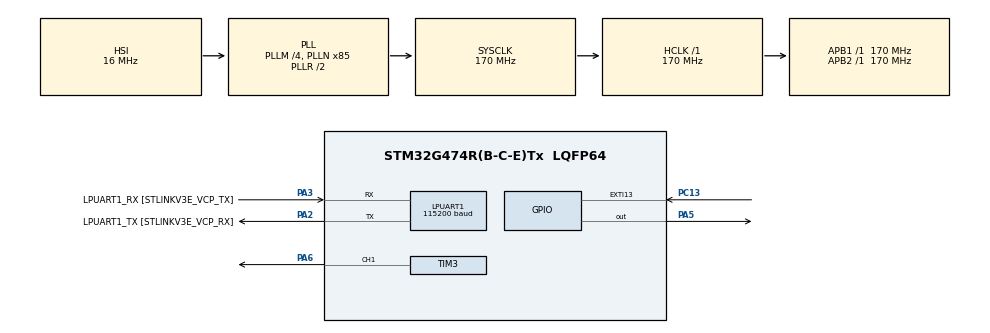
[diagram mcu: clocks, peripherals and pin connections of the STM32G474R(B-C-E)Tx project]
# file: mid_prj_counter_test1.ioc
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LPUART1.BaudRate=115200
Mcu.Family=STM32G4
Mcu.Name=STM32G474R(B-C-E)Tx
Mcu.Package=LQFP64
NVIC.EXTI15_10_IRQn=true\:0\:0\:false\:false\:true\:true\:true\:true
NVIC.LPUART1_IRQn=true\:0\:0\:false\:false\:true\:true\:true\:true
NVIC.PriorityGroup=NVIC_PRIORITYGROUP_4
PA13.GPIO_Label=T_SWDIO
PA13.Mode=Serial_Wire
PA13.Signal=SYS_JTMS-SWDIO
PA14.GPIO_Label=T_SWCLK
PA14.Mode=Serial_Wire
PA14.Signal=SYS_JTCK-SWCLK
PA2.GPIO_Label=LPUART1_TX [STLINKV3E_VCP_RX]
PA2.Mode=Asynchronous
PA2.Signal=LPUART1_TX
PA3.GPIO_Label=LPUART1_RX [STLINKV3E_VCP_TX]
PA3.Mode=Asynchronous
PA3.Signal=LPUART1_RX
PA5.Signal=GPIO_Output
PA6.Signal=S_TIM3_CH1
PB3.GPIO_Label=T_SWO
PB3.Signal=SYS_JTDO-SWO
PC13.GPIO_ModeDefaultEXTI=GPIO_MODE_IT_FALLING
PC13.Signal=GPXTI13
PC14-OSC32_IN.GPIO_Label=RCC_OSC32_IN
PC14-OSC32_IN.Signal=RCC_OSC32_IN
PC15-OSC32_OUT.GPIO_Label=RCC_OSC32_OUT
PC15-OSC32_OUT.Signal=RCC_OSC32_OUT
PF0-OSC_IN.GPIO_Label=RCC_OSC_IN
PF0-OSC_IN.Signal=RCC_OSC_IN
PF1-OSC_OUT.GPIO_Label=RCC_OSC_OUT
PF1-OSC_OUT.Signal=RCC_OSC_OUT
ProjectManager.HeapSize=0x200
ProjectManager.StackSize=0x400
ProjectManager.TargetToolchain=STM32CubeIDE
RCC.ADC12Freq_Value=170000000
RCC.ADC345Freq_Value=170000000
RCC.AHBFreq_Value=170000000
RCC.APB1Freq_Value=170000000
RCC.APB1TimFreq_Value=170000000
RCC.APB2Freq_Value=170000000
RCC.APB2TimFreq_Value=170000000
RCC.CortexFreq_Value=170000000
RCC.EXTERNAL_CLOCK_VALUE=12288000
RCC.HCLKFreq_Value=170000000
RCC.HSE_VALUE=24000000
RCC.HSI48_VALUE=48000000
RCC.HSI_VALUE=16000000
RCC.LSE_VALUE=32768
RCC.PLLM=RCC_PLLM_DIV4
RCC.PLLN=85
RCC.RTCClockSelection=RCC_RTCCLKSOURCE_LSE
RCC.SYSCLKFreq_VALUE=170000000
RCC.SYSCLKSource=RCC_SYSCLKSOURCE_PLLCLK
RCC.USBFreq_Value=170000000
RCC.VCOOutputFreq_Value=340000000
SH.S_TIM3_CH1.0=TIM3_CH1,PWM Generation1 CH1
TIM2.Prescaler=169
TIM3.Channel-PWM\ Generation1\ CH1=TIM_CHANNEL_1
TIM3.PeriodNoDither=999
TIM3.Prescaler=169
VP_SYS_VS_DBSignals.Mode=DisableDeadBatterySignals
VP_TIM2_VS_ClockSourceINT.Mode=Internal
VP_TIM3_VS_ClockSourceINT.Mode=Internal
board=NUCLEO-G474RE

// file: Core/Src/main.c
/* USER CODE BEGIN Header */
/**
  ******************************************************************************
  * @file           : main.c
  * @brief          : Main program body
  ******************************************************************************
  * @attention
  *
  * Copyright (c) 2026 STMicroelectronics.
  * All rights reserved.
  *
  * This software is licensed under terms that can be found in the LICENSE file
  * in the root directory of this software component.
  * If no LICENSE file comes with this software, it is provided AS-IS.
  *
  ******************************************************************************
  */
/* USER CODE END Header */
#include "main.h"

/* USER CODE BEGIN Includes */
#include <stdio.h>
#include <string.h>
#include <stdlib.h>
/* USER CODE END Includes */

UART_HandleTypeDef hlpuart1;

TIM_HandleTypeDef htim2;
TIM_HandleTypeDef htim3;

/* USER CODE BEGIN PV */

float target_time = 10.0f;
float elapsed_time = 0.0f;
float time_error = 0.0f;
int discount = 0;

volatile uint8_t game_state = 0;
volatile uint32_t start_time = 0;
volatile uint32_t stop_time = 0;

uint8_t rx_byte;
char rx_buffer[64];
volatile uint8_t rx_index = 0;

/* USER CODE END PV */

void SystemClock_Config(void);
static void MX_GPIO_Init(void);
static void MX_LPUART1_UART_Init(void);
static void MX_TIM2_Init(void);
static void MX_TIM3_Init(void);

int main(void)
{

  /* MCU Configuration--------------------------------------------------------*/

  /* Reset of all peripherals, Initializes the Flash interface and the Systick. */
  HAL_Init();

  /* Configure the system clock */
  SystemClock_Config();

  /* Initialize all configured peripherals */
  MX_GPIO_Init();
  MX_LPUART1_UART_Init();
  MX_TIM2_Init();
  MX_TIM3_Init();
  /* USER CODE BEGIN 2 */
  HAL_TIM_Base_Start(&htim2);
  HAL_UART_Receive_IT(&hlpuart1, &rx_byte, 1);
  HAL_TIM_PWM_Start(&htim3, TIM_CHANNEL_1);
  /* USER CODE END 2 */

  /* Infinite loop */
  while (1)
  {
	  /* USER CODE BEGIN 3 */
	  if (game_state == 2)
	  	  {
	  	      elapsed_time = stop_time / 1000000.0f;

	  	      time_error = elapsed_time - target_time;

	  	      if (time_error < 0)
	  	          time_error = -time_error;

	  	      if (time_error <= 0.05f)
	  	    	  discount = 5;
	  	      else if (time_error <= 0.20f)
	  	    	  discount = 7;
	  	      else if (time_error <= 1.00f)
	  	    	  discount = 9;
	  	      else
	  	    	  discount = 10;

	  	      char msg[128];

	  	      snprintf(msg, sizeof(msg),
	  	               "\r\nTime: %.3f s\r\nError: %.3f s\r\nDiscount: %d\r\n",
	  	               elapsed_time, time_error, discount);

	  	      HAL_UART_Transmit(&hlpuart1,
	  	                        (uint8_t *)msg,
	  	                        strlen(msg),
	  	                        1000);

	  	    // 只有獲得折扣時，PWM 才呼吸三次
	  	    if (discount < 10)
	  	    {
	  	        for (int blink = 0; blink < 3; blink++)
	  	        {
	  	            // 漸亮
	  	            for (int duty = 0; duty <= 999; duty += 10)
	  	            {
	  	                __HAL_TIM_SET_COMPARE(&htim3, TIM_CHANNEL_1, duty);
	  	                HAL_Delay(5);
	  	            }

	  	            // 漸暗
	  	            for (int duty = 999; duty >= 0; duty -= 10)
	  	            {
	  	                __HAL_TIM_SET_COMPARE(&htim3, TIM_CHANNEL_1, duty);
	  	                HAL_Delay(5);
	  	            }

	  	            // 熄滅並停頓
	  	            __HAL_TIM_SET_COMPARE(&htim3, TIM_CHANNEL_1, 0);
	  	            HAL_Delay(200);
	  	        }
	  	    }
	  	      game_state = 0;
	  	  }
	  /* USER CODE END 3 */
          }
}

void SystemClock_Config(void)
{
  RCC_OscInitTypeDef RCC_OscInitStruct = {0};
  RCC_ClkInitTypeDef RCC_ClkInitStruct = {0};

  /** Configure the main internal regulator output voltage
  */
  HAL_PWREx_ControlVoltageScaling(PWR_REGULATOR_VOLTAGE_SCALE1_BOOST);

  /** Initializes the RCC Oscillators according to the specified parameters
  * in the RCC_OscInitTypeDef structure.
  */
  RCC_OscInitStruct.OscillatorType = RCC_OSCILLATORTYPE_HSI;
  RCC_OscInitStruct.HSIState = RCC_HSI_ON;
  RCC_OscInitStruct.HSICalibrationValue = RCC_HSICALIBRATION_DEFAULT;
  RCC_OscInitStruct.PLL.PLLState = RCC_PLL_ON;
  RCC_OscInitStruct.PLL.PLLSource = RCC_PLLSOURCE_HSI;
  RCC_OscInitStruct.PLL.PLLM = RCC_PLLM_DIV4;
  RCC_OscInitStruct.PLL.PLLN = 85;
  RCC_OscInitStruct.PLL.PLLP = RCC_PLLP_DIV2;
  RCC_OscInitStruct.PLL.PLLQ = RCC_PLLQ_DIV2;
  RCC_OscInitStruct.PLL.PLLR = RCC_PLLR_DIV2;
  if (HAL_RCC_OscConfig(&RCC_OscInitStruct) != HAL_OK)
  {
    Error_Handler();
  }

  /** Initializes the CPU, AHB and APB buses clocks
  */
  RCC_ClkInitStruct.ClockType = RCC_CLOCKTYPE_HCLK|RCC_CLOCKTYPE_SYSCLK
                              |RCC_CLOCKTYPE_PCLK1|RCC_CLOCKTYPE_PCLK2;
  RCC_ClkInitStruct.SYSCLKSource = RCC_SYSCLKSOURCE_PLLCLK;
  RCC_ClkInitStruct.AHBCLKDivider = RCC_SYSCLK_DIV1;
  RCC_ClkInitStruct.APB1CLKDivider = RCC_HCLK_DIV1;
  RCC_ClkInitStruct.APB2CLKDivider = RCC_HCLK_DIV1;

  if (HAL_RCC_ClockConfig(&RCC_ClkInitStruct, FLASH_LATENCY_4) != HAL_OK)
  {
    Error_Handler();
  }
}

static void MX_LPUART1_UART_Init(void)
{

  hlpuart1.Instance = LPUART1;
  hlpuart1.Init.BaudRate = 115200;
  hlpuart1.Init.WordLength = UART_WORDLENGTH_8B;
  hlpuart1.Init.StopBits = UART_STOPBITS_1;
  hlpuart1.Init.Parity = UART_PARITY_NONE;
  hlpuart1.Init.Mode = UART_MODE_TX_RX;
  hlpuart1.Init.HwFlowCtl = UART_HWCONTROL_NONE;
  hlpuart1.Init.OneBitSampling = UART_ONE_BIT_SAMPLE_DISABLE;
  hlpuart1.Init.ClockPrescaler = UART_PRESCALER_DIV1;
  hlpuart1.AdvancedInit.AdvFeatureInit = UART_ADVFEATURE_NO_INIT;
  if (HAL_UART_Init(&hlpuart1) != HAL_OK)
  {
    Error_Handler();
  }
  if (HAL_UARTEx_SetTxFifoThreshold(&hlpuart1, UART_TXFIFO_THRESHOLD_1_8) != HAL_OK)
  {
    Error_Handler();
  }
  if (HAL_UARTEx_SetRxFifoThreshold(&hlpuart1, UART_RXFIFO_THRESHOLD_1_8) != HAL_OK)
  {
    Error_Handler();
  }
  if (HAL_UARTEx_DisableFifoMode(&hlpuart1) != HAL_OK)
  {
    Error_Handler();
  }

}

static void MX_TIM2_Init(void)
{

  TIM_ClockConfigTypeDef sClockSourceConfig = {0};
  TIM_MasterConfigTypeDef sMasterConfig = {0};

  htim2.Instance = TIM2;
  htim2.Init.Prescaler = 169;
  htim2.Init.CounterMode = TIM_COUNTERMODE_UP;
  htim2.Init.Period = 4294967295;
  htim2.Init.ClockDivision = TIM_CLOCKDIVISION_DIV1;
  htim2.Init.AutoReloadPreload = TIM_AUTORELOAD_PRELOAD_DISABLE;
  if (HAL_TIM_Base_Init(&htim2) != HAL_OK)
  {
    Error_Handler();
  }
  sClockSourceConfig.ClockSource = TIM_CLOCKSOURCE_INTERNAL;
  if (HAL_TIM_ConfigClockSource(&htim2, &sClockSourceConfig) != HAL_OK)
  {
    Error_Handler();
  }
  sMasterConfig.MasterOutputTrigger = TIM_TRGO_RESET;
  sMasterConfig.MasterSlaveMode = TIM_MASTERSLAVEMODE_DISABLE;
  if (HAL_TIMEx_MasterConfigSynchronization(&htim2, &sMasterConfig) != HAL_OK)
  {
    Error_Handler();
  }

}

static void MX_TIM3_Init(void)
{

  TIM_ClockConfigTypeDef sClockSourceConfig = {0};
  TIM_MasterConfigTypeDef sMasterConfig = {0};
  TIM_OC_InitTypeDef sConfigOC = {0};

  htim3.Instance = TIM3;
  htim3.Init.Prescaler = 169;
  htim3.Init.CounterMode = TIM_COUNTERMODE_UP;
  htim3.Init.Period = 999;
  htim3.Init.ClockDivision = TIM_CLOCKDIVISION_DIV1;
  htim3.Init.AutoReloadPreload = TIM_AUTORELOAD_PRELOAD_DISABLE;
  if (HAL_TIM_Base_Init(&htim3) != HAL_OK)
  {
    Error_Handler();
  }
  sClockSourceConfig.ClockSource = TIM_CLOCKSOURCE_INTERNAL;
  if (HAL_TIM_ConfigClockSource(&htim3, &sClockSourceConfig) != HAL_OK)
  {
    Error_Handler();
  }
  if (HAL_TIM_PWM_Init(&htim3) != HAL_OK)
  {
    Error_Handler();
  }
  sMasterConfig.MasterOutputTrigger = TIM_TRGO_RESET;
  sMasterConfig.MasterSlaveMode = TIM_MASTERSLAVEMODE_DISABLE;
  if (HAL_TIMEx_MasterConfigSynchronization(&htim3, &sMasterConfig) != HAL_OK)
  {
    Error_Handler();
  }
  sConfigOC.OCMode = TIM_OCMODE_PWM1;
  sConfigOC.Pulse = 0;
  sConfigOC.OCPolarity = TIM_OCPOLARITY_HIGH;
  sConfigOC.OCFastMode = TIM_OCFAST_DISABLE;
  if (HAL_TIM_PWM_ConfigChannel(&htim3, &sConfigOC, TIM_CHANNEL_1) != HAL_OK)
  {
    Error_Handler();
  }
  HAL_TIM_MspPostInit(&htim3);

}

static void MX_GPIO_Init(void)
{
  GPIO_InitTypeDef GPIO_InitStruct = {0};

  /* GPIO Ports Clock Enable */
  __HAL_RCC_GPIOC_CLK_ENABLE();
  __HAL_RCC_GPIOF_CLK_ENABLE();
  __HAL_RCC_GPIOA_CLK_ENABLE();
  __HAL_RCC_GPIOB_CLK_ENABLE();

  /*Configure GPIO pin Output Level */
  HAL_GPIO_WritePin(GPIOA, GPIO_PIN_5, GPIO_PIN_RESET);

  /*Configure GPIO pin : PC13 */
  GPIO_InitStruct.Pin = GPIO_PIN_13;
  GPIO_InitStruct.Mode = GPIO_MODE_IT_FALLING;
  GPIO_InitStruct.Pull = GPIO_NOPULL;
  HAL_GPIO_Init(GPIOC, &GPIO_InitStruct);

  /*Configure GPIO pin : PA5 */
  GPIO_InitStruct.Pin = GPIO_PIN_5;
  GPIO_InitStruct.Mode = GPIO_MODE_OUTPUT_PP;
  GPIO_InitStruct.Pull = GPIO_NOPULL;
  GPIO_InitStruct.Speed = GPIO_SPEED_FREQ_LOW;
  HAL_GPIO_Init(GPIOA, &GPIO_InitStruct);

  /* EXTI interrupt init*/
  HAL_NVIC_SetPriority(EXTI15_10_IRQn, 0, 0);
  HAL_NVIC_EnableIRQ(EXTI15_10_IRQn);

}

/* USER CODE BEGIN 4 */
void HAL_GPIO_EXTI_Callback(uint16_t GPIO_Pin)
{
    if (GPIO_Pin == GPIO_PIN_13)
    {
        static uint32_t last_press = 0;
        uint32_t now = HAL_GetTick();

        if (now - last_press < 200)
            return;

        last_press = now;

        if (game_state == 0)
        {
            __HAL_TIM_SET_COUNTER(&htim2, 0);
            start_time = 0;
            game_state = 1;
        }
        else if (game_state == 1)
        {
            stop_time = __HAL_TIM_GET_COUNTER(&htim2);
            game_state = 2;
        }
    }
}
void HAL_UART_RxCpltCallback(UART_HandleTypeDef *huart)
{
    if (huart->Instance == LPUART1)
    {
        if (rx_byte == '\r' || rx_byte == '\n')
        {
            if (rx_index > 0)
            {
                rx_buffer[rx_index] = '\0';

                if (strncmp(rx_buffer, "TARGET ", 7) == 0)
                {
                    float new_target = atof(rx_buffer + 7);

                    if (new_target >= 1.0f && new_target <= 60.0f)
                    {
                        target_time = new_target;

                        char msg[] = "Target updated!\r\n";
                        HAL_UART_Transmit(&hlpuart1,
                                          (uint8_t *)msg,
                                          strlen(msg),
                                          100);
                    }
                }

                rx_index = 0;
            }
        }
        else if (rx_index < sizeof(rx_buffer) - 1)
        {
            rx_buffer[rx_index++] = rx_byte;
        }
        else
        {
            rx_index = 0;
        }

        HAL_UART_Receive_IT(&hlpuart1, &rx_byte, 1);
    }
}
/* USER CODE END 4 */

void Error_Handler(void)
{
  __disable_irq();
  while (1)
  {
  }
}
